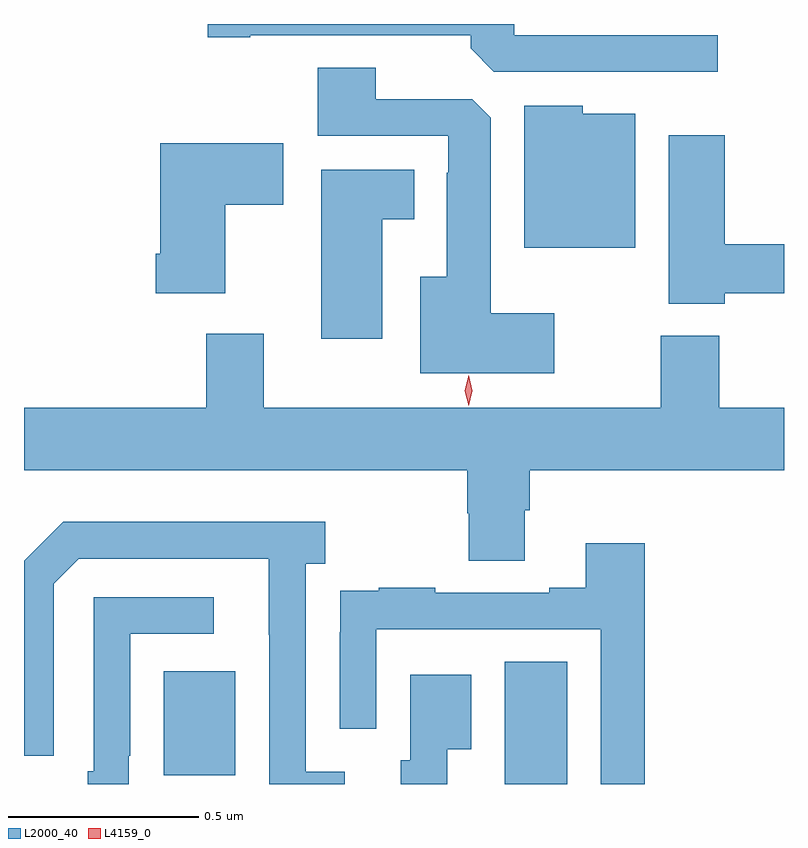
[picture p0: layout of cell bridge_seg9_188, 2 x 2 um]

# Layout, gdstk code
import gdstk
lib = gdstk.Library(unit=1e-6, precision=1e-09)
def R(c, l, rs):  # rectangles x0, y0, x1, y1
    for r in rs: c.add(gdstk.rectangle(r[:2], r[2:], *l))
def P(c, l, *ps):  # polygons
    for p in ps: c.add(gdstk.Polygon(p, *l))
L2000_40 = (2000, 40)
L4159_0 = (4159, 0)

bridge_seg9_188 = lib.new_cell('bridge_seg9_188')
R(bridge_seg9_188, L2000_40, [(182.9,1192.93,183.064,1193.252), (182.003,1192.953,182.191,1193.227)])
P(bridge_seg9_188, L2000_40, [(183.46,1194.9),(182.925,1194.9),(182.925,1194.93),(182.118,1194.93),(182.118,1194.895),(182.23,1194.895),(182.23,1194.9),(182.81,1194.9),(182.81,1194.866),(182.871,1194.804),(183.46,1194.804)],
  [(183.031,1194.169),(182.863,1194.169),(182.863,1194.683),(182.814,1194.732),(182.56,1194.732),(182.56,1194.815),(182.408,1194.815),(182.408,1194.636),(182.751,1194.636),(182.751,1194.539),(182.747,1194.539),(182.747,1194.265),(182.678,1194.265),(182.678,1194.011),(183.031,1194.011)],
  [(183.244,1194.694),(183.105,1194.694),(183.105,1194.715),(182.951,1194.715),(182.951,1194.341),(183.244,1194.341)],
  [(183.479,1194.222),(183.635,1194.222),(183.635,1194.35),(183.479,1194.35),(183.479,1194.637),(183.332,1194.637),(183.332,1194.194),(183.479,1194.194)],
  [(182.164,1194.454),(182.317,1194.454),(182.317,1194.616),(181.994,1194.616),(181.994,1194.325),(181.982,1194.325),(181.982,1194.221),(182.164,1194.221)],
  [(182.578,1194.416),(182.662,1194.416),(182.662,1194.547),(182.417,1194.547),(182.417,1194.102),(182.578,1194.102)],
  [(182.953,1193.65),(182.966,1193.65),(182.966,1193.756),(183.635,1193.756),(183.635,1193.92),(183.464,1193.92),(183.464,1194.109),(183.311,1194.109),(183.311,1193.92),(182.266,1193.92),(182.266,1194.115),(182.114,1194.115),(182.114,1193.92),(181.635,1193.92),(181.635,1193.756),(182.801,1193.756),(182.801,1193.643),(182.806,1193.643),(182.806,1193.518),(182.953,1193.518)],
  [(182.479,1192.962),(182.376,1192.962),(182.376,1193.51),(182.428,1193.51),(182.428,1193.62),(181.738,1193.62),(181.635,1193.517),(181.635,1193.004),(181.713,1193.004),(181.713,1193.457),(181.779,1193.523),(182.279,1193.523),(182.279,1193.323),(182.28,1193.323),(182.28,1192.93),(182.479,1192.93)],
  [(183.269,1193.563),(183.113,1193.563),(183.113,1193.446),(183.017,1193.446),(183.017,1193.433),(182.717,1193.433),(182.717,1193.446),(182.569,1193.446),(182.569,1193.439),(182.467,1193.439),(182.467,1193.33),(182.466,1193.33),(182.466,1193.076),(182.562,1193.076),(182.562,1193.337),(183.153,1193.337),(183.153,1192.93),(183.269,1192.93)],
  [(181.911,1193.005),(181.914,1193.005),(181.914,1193.325),(182.134,1193.325),(182.134,1193.421),(181.818,1193.421),(181.818,1192.963),(181.803,1192.963),(181.803,1192.93),(181.911,1192.93)],
  [(182.749,1193.021),(182.812,1193.021),(182.812,1193.218),(182.651,1193.218),(182.651,1192.992),(182.627,1192.992),(182.627,1192.93),(182.749,1192.93)])
P(bridge_seg9_188, L4159_0, [(182.805,1193.925),(182.805,1193.925),(182.795,1193.965),(182.805,1194.006),(182.805,1194.006),(182.805,1194.006),(182.815,1193.965),(182.805,1193.925)])

lib.write_gds('bridge_seg9_188.gds')
